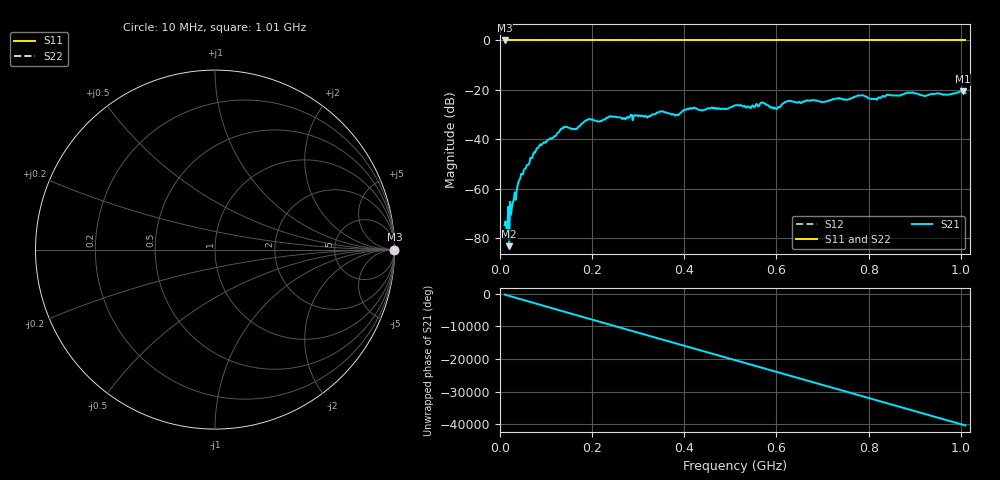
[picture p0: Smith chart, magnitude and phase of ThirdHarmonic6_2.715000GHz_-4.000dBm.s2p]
! 8/17/2025 6:34:58 AM
! C:\ANRITSUVNA\TEMP\TEMP.S2P
! CHANNEL.1
! TR.MEASUREMENT
! RAW.DATA
! RF.CORRECTION.OFF
! AVERAGING.OFF
! IF.BANDWIDTH: 5KHZ
! SWEEPTYPE:  FREQ.SWEEP(Linear)
! Reference Plane Port Info
! PORT:  PORT1  PORT2
! DISTANCE:  0  m  0  m
! TIME:  0  s  0  s
! PHASE.OFFSET:  0  deg.  0  deg.
! LOSS:  0  dB  0  dB
! REF.LOSS:  0  dB  0  dB
! REF.FREQ:  0  Hz  0  Hz
! Power Info
! POWER:  -20  dBm  -20  dBm
! EFF.POWER:  -20  dBm  -20  dBm
! SOURCE.ATTEN:  0  dB  0  dB
! TEST.ATTEN:  0  dB  0  dB
# GHZ S RI R 50.0
! FREQ.GHZ  S11RE  S11IM  S21RE  S21IM  S12RE  S12IM  S22RE  S22IM
!; PortSelection: Port_12
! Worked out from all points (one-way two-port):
!   501 points, 10 MHz to 1.01 GHz, reference 50 ohm
!   highest |S21| = -20.59 dB at 1.004 GHz (marker M1); lowest = -83.3 dB at 20 MHz (marker M2)
!   lowest |S11| = 0.0 dB at 10 MHz (marker M3)
!   |S11| at or under -10 dB: nowhere
!   |S22| runs from 0.0 to 0.0 dB; largest |S21 - S12| = 1.1
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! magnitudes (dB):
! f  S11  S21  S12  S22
! 10 MHz  0.0  -74.8  0.0  0.0
! 16 MHz  0.0  -75.8  0.0  0.0
! 20 MHz  0.0  -83.3  0.0  0.0
! 44 MHz  0.0  -55.8  0.0  0.0
! 84 MHz  0.0  -43.1  0.0  0.0
! 136 MHz  0.0  -35.7  0.0  0.0
! 164 MHz  0.0  -35.8  0.0  0.0
! 178 MHz  0.0  -33.7  0.0  0.0
! 192 MHz  0.0  -31.9  0.0  0.0
! 344 MHz  0.0  -29.2  0.0  0.0
! 384 MHz  0.0  -30.1  0.0  0.0
! 410 MHz  0.0  -27.9  0.0  0.0
! 510 MHz  0.0  -26.2  0.0  0.0
! 570 MHz  0.0  -25.1  0.0  0.0
! 598 MHz  0.0  -27.5  0.0  0.0
! 624 MHz  0.0  -24.6  0.0  0.0
! 678 MHz  0.0  -24.2  0.0  0.0
! 784 MHz  0.0  -22.2  0.0  0.0
! 814 MHz  0.0  -23.6  0.0  0.0
! 844 MHz  0.0  -22.1  0.0  0.0
! 1.004 GHz  0.0  -20.6  0.0  0.0
! 1.01 GHz  0.0  -21.3  0.0  0.0
